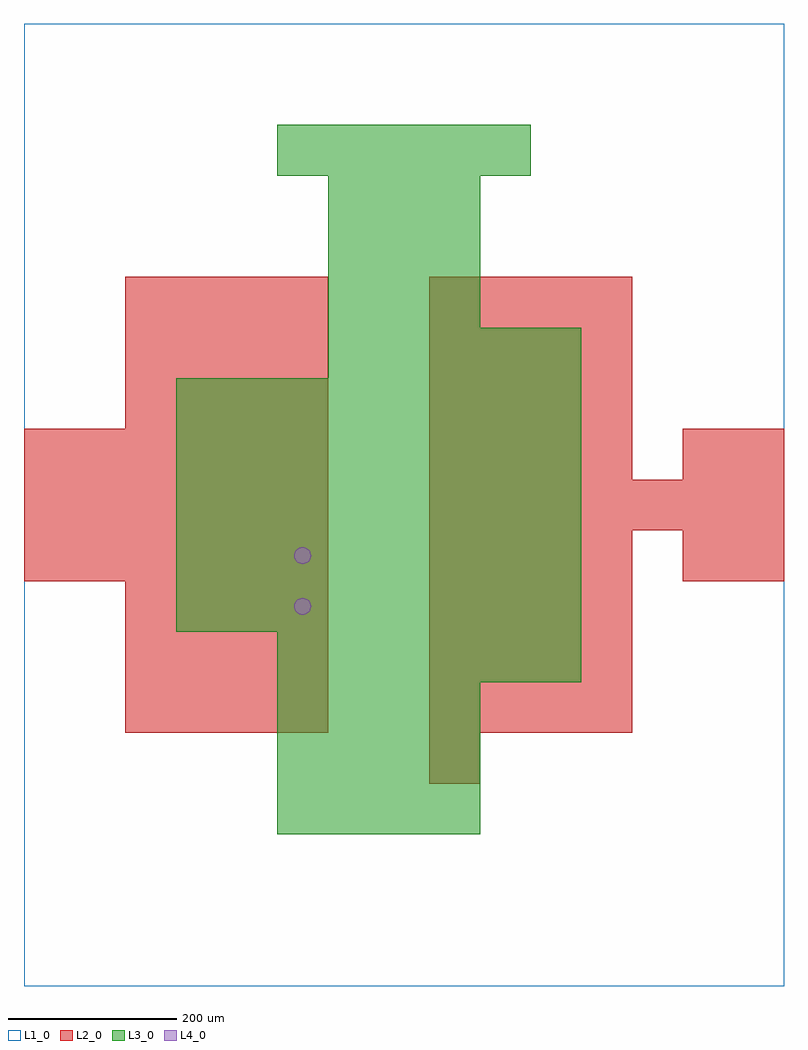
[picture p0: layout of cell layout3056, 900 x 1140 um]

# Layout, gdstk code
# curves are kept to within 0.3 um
import gdstk
lib = gdstk.Library(unit=1e-6, precision=1e-09)
def R(c, l, rs):  # rectangles x0, y0, x1, y1
    for r in rs: c.add(gdstk.rectangle(r[:2], r[2:], *l))
def A(c, l, x, y, w, h, nx, ny, dx, dy):  # array of equal rectangles
    R(c, l, [(x+i*dx, y+j*dy, x+i*dx+w, y+j*dy+h) for i in range(nx) for j in range(ny)])
def P(c, l, *ps):  # polygons
    for p in ps: c.add(gdstk.Polygon(p, *l))
L1_0 = (1, 0)
L2_0 = (2, 0)
L3_0 = (3, 0)
L4_0 = (4, 0)

layout3056 = lib.new_cell('layout3056')
R(layout3056, L1_0, [(0,0,900,1140)])
A(layout3056, L2_0, 120, 300, 60, 60, 4, 3, 60, 60)
A(layout3056, L2_0, 480, 300, 60, 60, 4, 4, 60, 60)
A(layout3056, L2_0, 0, 480, 60, 60, 6, 3, 60, 60)
A(layout3056, L2_0, 480, 540, 60, 60, 7, 1, 60, 0)
A(layout3056, L2_0, 480, 600, 60, 60, 4, 4, 60, 60)
A(layout3056, L2_0, 120, 660, 60, 60, 4, 3, 60, 60)
R(layout3056, L2_0, [(480,240,540,300), (780,480,840,540), (840,480,900,540), (780,600,840,660), (840,600,900,660)])
A(layout3056, L3_0, 300, 180, 60, 60, 4, 3, 60, 60)
A(layout3056, L3_0, 300, 360, 60, 60, 6, 1, 60, 0)
A(layout3056, L3_0, 180, 420, 60, 60, 8, 5, 60, 60)
A(layout3056, L3_0, 360, 720, 60, 60, 5, 1, 60, 0)
A(layout3056, L3_0, 360, 780, 60, 60, 3, 3, 60, 60)
A(layout3056, L3_0, 300, 960, 60, 60, 5, 1, 60, 0)
P(layout3056, L4_0, [(340,450),(339.239,453.827),(337.071,457.071),(333.827,459.239),(330,460),(326.173,459.239),(322.929,457.071),(320.761,453.827),(320,450),(320.761,446.173),(322.929,442.929),(326.173,440.761),(330,440),(333.827,440.761),(337.071,442.929),(339.239,446.173)],
  [(340,510),(339.239,513.827),(337.071,517.071),(333.827,519.239),(330,520),(326.173,519.239),(322.929,517.071),(320.761,513.827),(320,510),(320.761,506.173),(322.929,502.929),(326.173,500.761),(330,500),(333.827,500.761),(337.071,502.929),(339.239,506.173)])

lib.write_gds('layout3056.gds')
